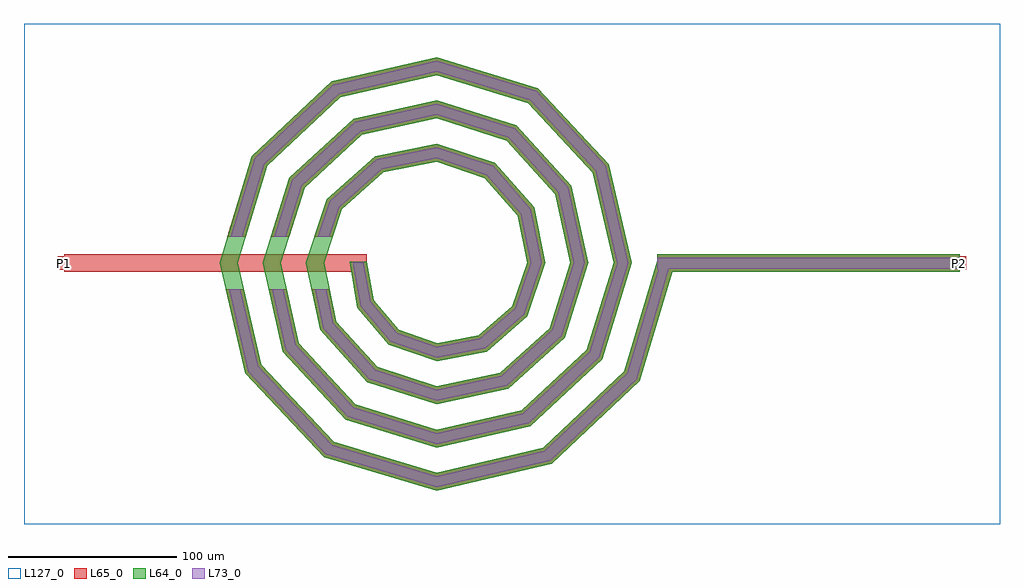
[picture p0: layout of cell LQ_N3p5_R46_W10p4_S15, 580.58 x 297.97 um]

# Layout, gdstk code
import gdstk
lib = gdstk.Library(unit=1e-6, precision=1e-09)
def R(c, l, rs):  # rectangles x0, y0, x1, y1
    for r in rs: c.add(gdstk.rectangle(r[:2], r[2:], *l))
def P(c, l, *ps):  # polygons
    for p in ps: c.add(gdstk.Polygon(p, *l))
L64_0 = (64, 0)
L65_0 = (65, 0)
L73_0 = (73, 0)
L127_0 = (127, 0)

lq_n3p5_r46_w10p4_s15 = lib.new_cell('LQ_N3p5_R46_W10p4_S15')
R(lq_n3p5_r46_w10p4_s15, L64_0, [(131.251,-5.2,311.251,5.2)])
P(lq_n3p5_r46_w10p4_s15, L64_0, [(-37.28,-22.033),(-22.355,-39.565),(0.405,-47.582),(25.198,-42.865),(45.101,-25.606),(54.002,0.362),(48.446,28.373),(28.849,50.643),(0.326,60.423),(-31.556,54.024),(-56.189,32.087),(-66.845,0.297),(-59.599,-34.743),(-35.32,-61.737),(0.273,-73.267),(37.934,-65.172),(67.288,-38.55),(79.689,0.253),(70.743,41.128),(41.777,72.841),(0.235,86.111),(-44.325,76.314),(-78.395,45.002),(-92.534,0.22),(-81.883,-47.523),(-48.225,-83.95),(0.206,-98.956),(50.723,-87.452),(89.506,-51.448),(105.379,0.194),(93.02,53.925),(54.668,95.062),(0.183,111.801),(-57.127,98.587),(-100.62,57.888),(-118.224,0.174),(-104.154,-60.331),(-61.107,-106.177),(0.165,-124.647),(63.535,-109.72),(111.736,-64.326),(131.47,1.493),(141.432,-1.493),(120.896,-69.985),(68.634,-119.204),(0.165,-135.41),(-66.78,-115.33),(-113.645,-65.416),(-128.986,0.174),(-109.763,63.576),(-62.196,108.087),(0.183,122.563),(60.373,104.195),(102.529,58.975),(116.14,0.194),(98.627,-57.171),(55.754,-96.972),(0.206,-109.716),(-53.97,-93.058),(-91.416,-52.531),(-103.293,0.22),(-87.488,50.77),(-49.306,85.86),(0.235,96.869),(47.572,81.917),(80.306,46.08),(90.445,0.253),(76.344,-44.377),(42.851,-74.752),(0.273,-84.022),(-41.183,-70.77),(-69.2,-39.619),(-77.597,0.297),(-65.194,37.993),(-36.383,63.65),(0.326,71.173),(34.808,59.614),(58.103,33.143),(64.748,0.362),(54.031,-31.628),(29.895,-52.559),(0.405,-58.322),(-28.456,-48.442),(-47.019,-26.637),(-51.647,0.921),(-41.411,0.921)])
R(lq_n3p5_r46_w10p4_s15, L65_0, [(-221.329,-5.2,-41.329,5.2), (131.251,-5.2,311.251,5.2), (-225.329,-4,-217.329,4), (307.251,-4,315.251,4)])
P(lq_n3p5_r46_w10p4_s15, L65_0, [(-104.154,-60.331),(-61.108,-106.178),(0.165,-124.647),(63.535,-109.72),(111.736,-64.326),(131.47,1.493),(141.432,-1.493),(120.897,-69.985),(68.634,-119.204),(0.165,-135.41),(-66.78,-115.33),(-113.645,-65.416),(-125.297,-15.6),(-114.616,-15.6)],
  [(-81.883,-47.523),(-48.226,-83.95),(0.206,-98.956),(50.723,-87.452),(89.506,-51.448),(105.379,0.194),(93.02,53.925),(54.669,95.062),(0.184,111.802),(-57.127,98.587),(-100.62,57.888),(-113.442,15.6),(-124.309,15.6),(-109.763,63.576),(-62.196,108.087),(0.184,122.563),(60.373,104.195),(102.529,58.976),(116.14,0.194),(98.627,-57.171),(55.754,-96.972),(0.206,-109.716),(-53.97,-93.058),(-91.416,-52.531),(-99.731,-15.6),(-89.071,-15.6)],
  [(-59.599,-34.743),(-35.32,-61.737),(0.273,-73.267),(37.934,-65.172),(67.288,-38.55),(79.689,0.253),(70.743,41.128),(41.777,72.841),(0.235,86.111),(-44.325,76.314),(-78.395,45.002),(-87.587,15.6),(-98.484,15.6),(-87.488,50.77),(-49.306,85.86),(0.235,96.869),(47.572,81.917),(80.306,46.08),(90.446,0.253),(76.344,-44.377),(42.851,-74.752),(0.273,-84.022),(-41.183,-70.77),(-69.2,-39.619),(-74.253,-15.6),(-63.626,-15.6)],
  [(-22.355,-39.565),(0.405,-47.582),(25.198,-42.865),(45.101,-25.606),(54.002,0.362),(48.446,28.374),(28.849,50.643),(0.326,60.423),(-31.556,54.024),(-56.189,32.087),(-61.614,15.6),(-72.562,15.6),(-65.194,37.994),(-36.384,63.65),(0.326,71.173),(34.808,59.614),(58.103,33.143),(64.748,0.362),(54.031,-31.628),(29.895,-52.559),(0.405,-58.322),(-28.456,-48.442),(-47.019,-26.637),(-51.647,0.921),(-41.411,0.921),(-37.28,-22.033)])
R(lq_n3p5_r46_w10p4_s15, L73_0, [(131.251,-3.2,311.251,3.2)])
P(lq_n3p5_r46_w10p4_s15, L73_0, [(-105.979,-61.309),(-62.198,-107.938),(0.102,-126.717),(64.516,-111.544),(113.497,-65.414),(133.386,0.919),(139.517,0.919),(119.135,-68.896),(67.654,-117.38),(0.102,-133.34),(-65.689,-113.57),(-111.82,-64.438),(-123.243,-15.6),(-116.67,-15.6)],
  [(-83.716,-48.486),(-49.33,-85.701),(0.127,-101.025),(51.691,-89.283),(91.26,-52.548),(107.448,0.119),(94.848,54.896),(55.765,96.819),(0.113,113.871),(-58.102,100.414),(-102.378,58.982),(-115.532,15.6),(-122.219,15.6),(-108.004,62.482),(-61.221,106.26),(0.113,120.494),(59.276,102.439),(100.701,58.004),(114.07,0.119),(96.873,-56.07),(54.787,-95.141),(0.127,-107.647),(-52.865,-91.306),(-89.583,-51.568),(-97.681,-15.6),(-91.121,-15.6)],
  [(-61.445,-35.681),(-36.447,-63.474),(0.168,-75.335),(38.88,-67.014),(69.03,-39.67),(81.757,0.156),(72.582,42.081),(42.891,74.586),(0.145,88.18),(-45.283,78.15),(-80.143,46.111),(-89.683,15.6),(-96.389,15.6),(-85.739,49.661),(-48.348,84.024),(0.145,94.8),(46.458,80.171),(78.467,45.128),(88.377,0.156),(74.603,-43.256),(41.906,-72.91),(0.168,-81.953),(-40.056,-69.033),(-67.354,-38.682),(-72.209,-15.6),(-65.669,-15.6)],
  [(-23.528,-41.272),(0.249,-49.647),(26.102,-44.73),(46.819,-26.764),(56.069,0.223),(50.303,29.291),(29.995,52.368),(0.201,62.49),(-32.484,55.875),(-57.92,33.223),(-63.719,15.6),(-70.457,15.6),(-63.462,36.858),(-35.455,61.799),(0.201,69.106),(33.662,57.889),(56.246,32.225),(62.682,0.223),(52.314,-30.47),(28.992,-50.695),(0.249,-56.257),(-27.283,-46.735),(-45.146,-25.752),(-49.678,0.567),(-43.38,0.567),(-39.153,-22.918)])
R(lq_n3p5_r46_w10p4_s15, L127_0, [(-245.329,-155.41,335.251,142.563)])
lq_n3p5_r46_w10p4_s15.add(gdstk.Label('P2', (311.251,0), layer=65, texttype=0))
lq_n3p5_r46_w10p4_s15.add(gdstk.Label('P1', (-221.329,0), layer=65, texttype=0))
lq_n3p5_r46_w10p4_s15.add(gdstk.Label('P2', (315.251,0), layer=145, texttype=0))
lq_n3p5_r46_w10p4_s15.add(gdstk.Label('P1', (-225.329,0), layer=145, texttype=0))

lib.write_gds('LQ_N3p5_R46_W10p4_S15.gds')
